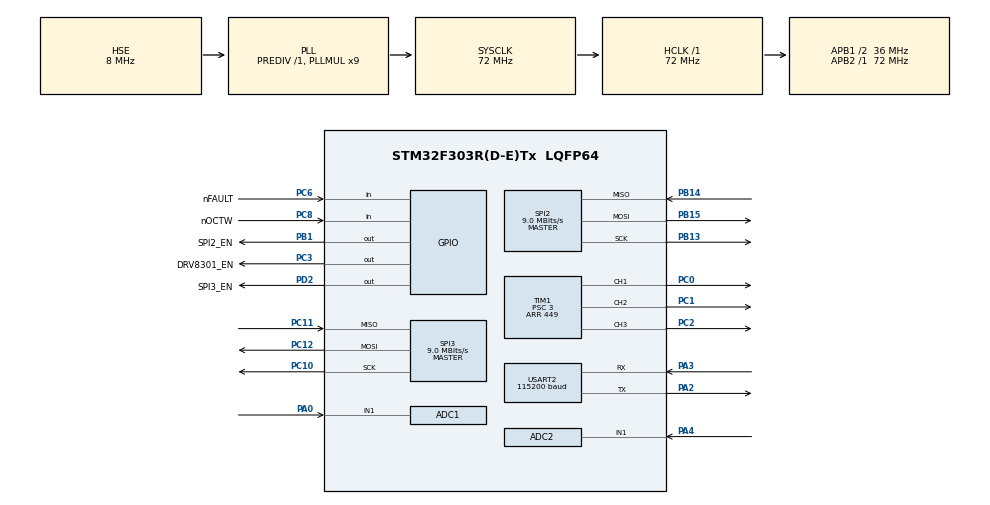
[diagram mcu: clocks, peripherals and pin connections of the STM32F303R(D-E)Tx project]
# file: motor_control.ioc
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ADC1.Channel-0\#ChannelRegularConversion=ADC_CHANNEL_1
ADC1.ContinuousConvMode=ENABLE
ADC1.EOCSelection=ADC_EOC_SEQ_CONV
ADC1.NbrOfConversionFlag=1
ADC1.Offset-0\#ChannelRegularConversion=0
ADC1.OffsetNumber-0\#ChannelRegularConversion=ADC_OFFSET_NONE
ADC1.Rank-0\#ChannelRegularConversion=1
ADC1.SamplingTime-0\#ChannelRegularConversion=ADC_SAMPLETIME_19CYCLES_5
ADC1.master=1
ADC2.Channel-0\#ChannelRegularConversion=ADC_CHANNEL_1
ADC2.ContinuousConvMode=ENABLE
ADC2.EOCSelection=ADC_EOC_SEQ_CONV
ADC2.NbrOfConversionFlag=1
ADC2.Offset-0\#ChannelRegularConversion=0
ADC2.OffsetNumber-0\#ChannelRegularConversion=ADC_OFFSET_NONE
ADC2.Rank-0\#ChannelRegularConversion=1
ADC2.SamplingTime-0\#ChannelRegularConversion=ADC_SAMPLETIME_19CYCLES_5
Mcu.Family=STM32F3
Mcu.Name=STM32F303R(D-E)Tx
Mcu.Package=LQFP64
NVIC.PriorityGroup=NVIC_PRIORITYGROUP_4
NVIC.TIM3_IRQn=true\:0\:0\:false\:false\:true\:true\:true
NVIC.USART2_IRQn=true\:15\:0\:true\:false\:true\:true\:true
PA0.Mode=IN1-Single-Ended
PA0.Signal=ADC1_IN1
PA2.Mode=Asynchronous
PA2.Signal=USART2_TX
PA3.Mode=Asynchronous
PA3.Signal=USART2_RX
PA4.Mode=IN1-Single-Ended
PA4.Signal=ADC2_IN1
PB1.GPIO_Label=SPI2_EN
PB1.Signal=GPIO_Output
PB13.Mode=Full_Duplex_Master
PB13.Signal=SPI2_SCK
PB14.Mode=Full_Duplex_Master
PB14.Signal=SPI2_MISO
PB15.Mode=Full_Duplex_Master
PB15.Signal=SPI2_MOSI
PC0.Signal=S_TIM1_CH1
PC1.Signal=S_TIM1_CH2
PC10.Mode=Full_Duplex_Master
PC10.Signal=SPI3_SCK
PC11.Mode=Full_Duplex_Master
PC11.Signal=SPI3_MISO
PC12.Mode=Full_Duplex_Master
PC12.Signal=SPI3_MOSI
PC2.Signal=S_TIM1_CH3
PC3.GPIO_Label=DRV8301_EN
PC3.Signal=GPIO_Output
PC6.GPIO_Label=nFAULT
PC6.Signal=GPIO_Input
PC8.GPIO_Label=nOCTW
PC8.Signal=GPIO_Input
PD2.GPIO_Label=SPI3_EN
PD2.Signal=GPIO_Output
PF0-OSC_IN.Mode=HSE-External-Oscillator
PF0-OSC_IN.Signal=RCC_OSC_IN
PF1-OSC_OUT.Mode=HSE-External-Oscillator
PF1-OSC_OUT.Signal=RCC_OSC_OUT
ProjectManager.HeapSize=0x200
ProjectManager.StackSize=0x400
ProjectManager.TargetToolchain=Other Toolchains (GPDSC)
RCC.AHBFreq_Value=72000000
RCC.APB1CLKDivider=RCC_HCLK_DIV2
RCC.APB1Freq_Value=36000000
RCC.APB1TimFreq_Value=72000000
RCC.APB2Freq_Value=72000000
RCC.APB2TimFreq_Value=72000000
RCC.CortexFreq_Value=72000000
RCC.HCLKFreq_Value=72000000
RCC.HSE_VALUE=8000000
RCC.HSI_VALUE=8000000
RCC.LSE_VALUE=32768
RCC.PLLMUL=RCC_PLL_MUL9
RCC.PLLSourceVirtual=RCC_PLLSOURCE_HSE
RCC.SYSCLKFreq_VALUE=72000000
RCC.SYSCLKSourceVirtual=RCC_SYSCLKSOURCE_PLLCLK
RCC.TIM1Selection=RCC_TIM1CLK_PLLCLK
RCC.TIM34Selection=RCC_TIM34CLK_PLLCLK
RCC.USBFreq_Value=72000000
SH.S_TIM1_CH1.0=TIM1_CH1,PWM Generation1 CH1
SH.S_TIM1_CH2.0=TIM1_CH2,PWM Generation2 CH2
SH.S_TIM1_CH3.0=TIM1_CH3,PWM Generation3 CH3
SPI2.BaudRatePrescaler=SPI_BAUDRATEPRESCALER_4
SPI2.CLKPhase=SPI_PHASE_2EDGE
SPI2.CalculateBaudRate=9.0 MBits/s
SPI2.DataSize=SPI_DATASIZE_16BIT
SPI2.Direction=SPI_DIRECTION_2LINES
SPI2.Mode=SPI_MODE_MASTER
SPI2.VirtualType=VM_MASTER
SPI3.BaudRatePrescaler=SPI_BAUDRATEPRESCALER_4
SPI3.CLKPhase=SPI_PHASE_2EDGE
SPI3.CalculateBaudRate=9.0 MBits/s
SPI3.DataSize=SPI_DATASIZE_16BIT
SPI3.Direction=SPI_DIRECTION_2LINES
SPI3.Mode=SPI_MODE_MASTER
SPI3.VirtualType=VM_MASTER
TIM1.Channel-PWM\ Generation1\ CH1=TIM_CHANNEL_1
TIM1.Channel-PWM\ Generation2\ CH2=TIM_CHANNEL_2
TIM1.Channel-PWM\ Generation3\ CH3=TIM_CHANNEL_3
TIM1.CounterMode=TIM_COUNTERMODE_CENTERALIGNED1
TIM1.Period=449
TIM1.Prescaler=3
TIM2.Period=4294000000
TIM2.Prescaler=71
TIM3.Period=124
TIM3.Prescaler=71
USART2.BaudRate=115200
USART2.VirtualMode-Asynchronous=VM_ASYNC
VP_TIM1_VS_ClockSourceINT.Mode=Internal
VP_TIM2_VS_ClockSourceINT.Mode=Internal
VP_TIM3_VS_ClockSourceINT.Mode=Internal
board=custom

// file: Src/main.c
/* USER CODE BEGIN Header */
/**
  ******************************************************************************
  * @file           : main.c
  * @brief          : Main program body
  ******************************************************************************
  * @attention
  *
  * <h2><center>&copy; Copyright (c) 2019 STMicroelectronics.
  * All rights reserved.</center></h2>
  *
  * This software component is licensed by ST under BSD 3-Clause license,
  * the "License"; You may not use this file except in compliance with the
  * License. You may obtain a copy of the License at:
  *                        opensource.org/licenses/BSD-3-Clause
  *
  ******************************************************************************
  */
/* USER CODE END Header */

#include "main.h"
#include "adc.h"
#include "spi.h"
#include "tim.h"
#include "usart.h"
#include "gpio.h"

/* USER CODE BEGIN Includes */
#include "string.h"
#include "svpwm.h"
#include "coordinate_change.h"
#include "inverter.h"
#include "as5048a.h"
#include "current_regulator.h"
#include "impedance_controller.h"

/* USER CODE END Includes */

void SystemClock_Config(void);

/* USER CODE BEGIN 0 */

float duty_cycle = 10;
int sub_counter = 0;

/* USER CODE END 0 */

int main(void)
{

	/* MCU Configuration--------------------------------------------------------*/

	/* Reset of all peripherals, Initializes the Flash interface and the Systick. */
	HAL_Init();

	/* USER CODE BEGIN Init */
	char msg[128];
	memset(msg, 0, 128);
	uint32_t total_time = 0;
	uint32_t counter = 0;
	uint32_t pre_counter = 0;
	uint32_t post_counter = 0;
	int max_used_time = 0;
	int error_counter = 0;

	/* USER CODE END Init */

	/* Configure the system clock */
	SystemClock_Config();

	/* Initialize all configured peripherals */
	MX_GPIO_Init();
	MX_ADC1_Init();
	MX_ADC2_Init();
	MX_SPI2_Init();
	MX_SPI3_Init();
	MX_TIM1_Init();
	MX_TIM2_Init();
	MX_TIM3_Init();
	MX_USART2_UART_Init();
	/* USER CODE BEGIN 2 */

	// init inverter
	inverter_setup(&htim1, &hspi3, SPI3_EN_GPIO_Port, SPI3_EN_Pin);
	inverter_init(&hadc1, &hadc2, DRV8301_EN_GPIO_Port, DRV8301_EN_Pin, 0.000025);
	// init as5048a
	as5048a_setup(&hspi2, SPI2_EN_GPIO_Port, SPI2_EN_Pin);
	encoder_setup(21.0f);
	// init svpwm cal
	svpwm_setup(22.2, 0.000025);
	// init current regulator
	current_regulator_setup(0.167f, 0.1881f);
	current_regulator_init();

	// init impedance controller
	impedance_controller_setup(0.01f, 0.001f, 0.1071);

	// start timer task for 16khz
	HAL_TIM_Base_Start_IT(&htim3);

	//for get time
	HAL_TIM_Base_Start(&htim2);

	/* USER CODE END 2 */

	/* Infinite loop */
	while (1)
	{

		/* USER CODE BEGIN 3 */
		pre_counter = __HAL_TIM_GET_COUNTER(&htim2);
		IC_running(3.1415f);
		post_counter = __HAL_TIM_GET_COUNTER(&htim2);
		if (falut_status)
		{
			++error_counter;
		}
		total_time += (post_counter - pre_counter);
		if ((post_counter - pre_counter) > max_used_time)
		{
			max_used_time = (post_counter - pre_counter);
		}
		++counter;

		if (counter % 10000 == 9999) {
			sprintf(msg, "time: %f -- %d -- %f -- %d --%X\r\n", total_time / 10000.0, max_used_time, joint_position_val, error_counter, response_word_drv);
			HAL_UART_Transmit(&huart2, (uint8_t*) msg, strlen(msg), HAL_MAX_DELAY);
			total_time = 0;
			max_used_time = 0;
			error_counter = 0;
		}
	}
	/* USER CODE END 3 */
}

void SystemClock_Config(void)
{
	RCC_OscInitTypeDef RCC_OscInitStruct = { 0 };
	RCC_ClkInitTypeDef RCC_ClkInitStruct = { 0 };
	RCC_PeriphCLKInitTypeDef PeriphClkInit = { 0 };

	/** Initializes the CPU, AHB and APB busses clocks
	*/
	RCC_OscInitStruct.OscillatorType = RCC_OSCILLATORTYPE_HSE;
	RCC_OscInitStruct.HSEState = RCC_HSE_ON;
	RCC_OscInitStruct.HSIState = RCC_HSI_ON;
	RCC_OscInitStruct.PLL.PLLState = RCC_PLL_ON;
	RCC_OscInitStruct.PLL.PLLSource = RCC_PLLSOURCE_HSE;
	RCC_OscInitStruct.PLL.PLLMUL = RCC_PLL_MUL9;
	RCC_OscInitStruct.PLL.PREDIV = RCC_PREDIV_DIV1;
	if (HAL_RCC_OscConfig(&RCC_OscInitStruct) != HAL_OK)
	{
		Error_Handler();
	}
	/** Initializes the CPU, AHB and APB busses clocks
	*/
	RCC_ClkInitStruct.ClockType = RCC_CLOCKTYPE_HCLK | RCC_CLOCKTYPE_SYSCLK
	                            | RCC_CLOCKTYPE_PCLK1 | RCC_CLOCKTYPE_PCLK2;
	RCC_ClkInitStruct.SYSCLKSource = RCC_SYSCLKSOURCE_PLLCLK;
	RCC_ClkInitStruct.AHBCLKDivider = RCC_SYSCLK_DIV1;
	RCC_ClkInitStruct.APB1CLKDivider = RCC_HCLK_DIV2;
	RCC_ClkInitStruct.APB2CLKDivider = RCC_HCLK_DIV1;

	if (HAL_RCC_ClockConfig(&RCC_ClkInitStruct, FLASH_LATENCY_2) != HAL_OK)
	{
		Error_Handler();
	}
	PeriphClkInit.PeriphClockSelection = RCC_PERIPHCLK_USART2 | RCC_PERIPHCLK_TIM1
	                            | RCC_PERIPHCLK_ADC12 | RCC_PERIPHCLK_TIM2
	                            | RCC_PERIPHCLK_TIM34;
	PeriphClkInit.Usart2ClockSelection = RCC_USART2CLKSOURCE_PCLK1;
	PeriphClkInit.Adc12ClockSelection = RCC_ADC12PLLCLK_DIV1;
	PeriphClkInit.Tim1ClockSelection = RCC_TIM1CLK_PLLCLK;
	PeriphClkInit.Tim2ClockSelection = RCC_TIM2CLK_HCLK;
	PeriphClkInit.Tim34ClockSelection = RCC_TIM34CLK_PLLCLK;
	if (HAL_RCCEx_PeriphCLKConfig(&PeriphClkInit) != HAL_OK)
	{
		Error_Handler();
	}
}

/* USER CODE BEGIN 4 */

void HAL_TIM_PeriodElapsedCallback(TIM_HandleTypeDef *htim)
{
	if (htim->Instance == htim3.Instance) {
		//HAL_GPIO_TogglePin(DRV8301_EN_GPIO_Port, DRV8301_EN_Pin);
		//IC_running(3.1415f);
	}
}

/* USER CODE END 4 */

void Error_Handler(void)
{
}

/************************ (C) COPYRIGHT STMicroelectronics *****END OF FILE****/
